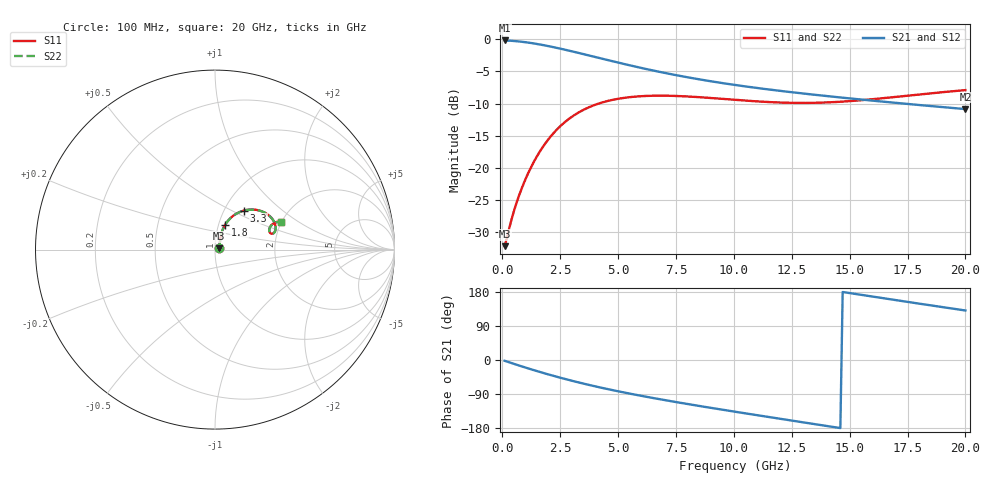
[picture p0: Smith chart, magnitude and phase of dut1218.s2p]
! Touchstone file exported from HFSS 2024.1.0
!  File:  C:/UserFiles/LocalFiles/RDL_TSV_Batchsim/temp_RDL_TSV_1218_1780261368.aedt
!  Generated:  05:22:21 AM Jun  1, 2026
!  Design:  RDL_TSV
!  Project:  temp_RDL_TSV_1218_1780261368
!  Setup:  Setup1
!  Solution:  Sweep
! Variables:
!  dtsv = 10.07um
!  hbump = 3um
!  htsv = 62.86um
!  ldown = 508.35um
!  lrdl = 481.46um
!  p = 40
!  p1 = 59.21um
!  rhole = 10um
!  subl = 3450.89um
!  t = 450um
!  tdown = 3.21um
!  trdl = 3.02um
!  viad = 10um
!  wdown = 13.48um
!  wrdl = 21.11um
!  xbump = 18um
# GHz S MA R 50.000000
! Terminal data exported
! Port[1] = TM1_1_T1
! Port[2] = TM1_4_T1
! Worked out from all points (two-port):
!   200 points, 100 MHz to 20 GHz, reference 50 ohm
!   highest |S21| = -0.21 dB at 100 MHz (marker M1); lowest = -10.9 dB at 20 GHz (marker M2)
!   |S21| within 3 dB of the highest: start of sweep to 4.502 GHz
!   lowest |S11| = -32.2 dB at 100 MHz (marker M3), VSWR 1.05, Z = 52.4 + j0.834 ohm
!   |S11| at or under -10 dB: start of sweep to 4.169 GHz
!   |S22| runs from -32.2 to -7.9 dB; largest |S21 - S12| = 2.5e-14
!   S11 on the Smith chart (normalised r, x): 100 MHz: 1.05, +0.02; 1.8 GHz: 1.08, +0.31; 3.3 GHz: 1.23, +0.58; 20 GHz: 1.99, +0.74
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0.1  0.02467 18.8  0.9764 -2.1  0.9764 -2.1  0.02467 18.8
! Gamma 0 0 0 0
! Port Impedance 50 0 50 0
0.5  0.04604 54.7  0.9673 -10.2  0.9673 -10.2  0.04604 54.7
0.8  0.06648 63.7  0.9558 -16.1  0.9558 -16.1  0.06649 63.7
1  0.08156 66.7  0.9463 -20.0  0.9463 -20.0  0.08157 66.7
1.3  0.1061 68.7  0.9295 -25.6  0.9295 -25.6  0.1061 68.7
1.8  0.1499 67.8  0.8965 -34.7  0.8965 -34.7  0.1499 67.8
2.1  0.1764 65.8  0.8745 -40.0  0.8745 -40.0  0.1765 65.7
2.5  0.2106 62.1  0.8439 -46.7  0.8439 -46.7  0.2106 62.1
3.3  0.2697 53.6  0.781 -59.3  0.781 -59.3  0.2697 53.6
3.5  0.2821 51.5  0.7654 -62.2  0.7654 -62.2  0.2821 51.5
4.2  0.3176 44.3  0.7128 -72.1  0.7128 -72.1  0.3175 44.3
5.1  0.3465 36.2  0.6511 -83.8  0.6511 -83.8  0.3464 36.1
5.9  0.3596 30.1  0.603 -93.4  0.603 -93.4  0.3595 30.1
6.8  0.3639 24.7  0.5565 -103.5  0.5565 -103.5  0.3639 24.7
8.3  0.3561 18.6  0.4944 -119.2  0.4944 -119.2  0.3561 18.5
10.1  0.3372 15.6  0.4393 -137.0  0.4393 -137.0  0.3373 15.5
11.7  0.3234 16.3  0.4024 -152.3  0.4024 -152.3  0.3235 16.2
13.4  0.32 19.1  0.3712 -168.4  0.3712 -168.4  0.3201 18.9
15  0.3299 22.1  0.3465 176.6  0.3465 176.6  0.3299 21.9
16.7  0.3515 24.0  0.3236 160.8  0.3236 160.8  0.3513 23.8
18.4  0.3779 24.1  0.3033 145.1  0.3033 145.1  0.3776 23.9
20  0.4017 22.8  0.2863 130.6  0.2863 130.6  0.4012 22.6
